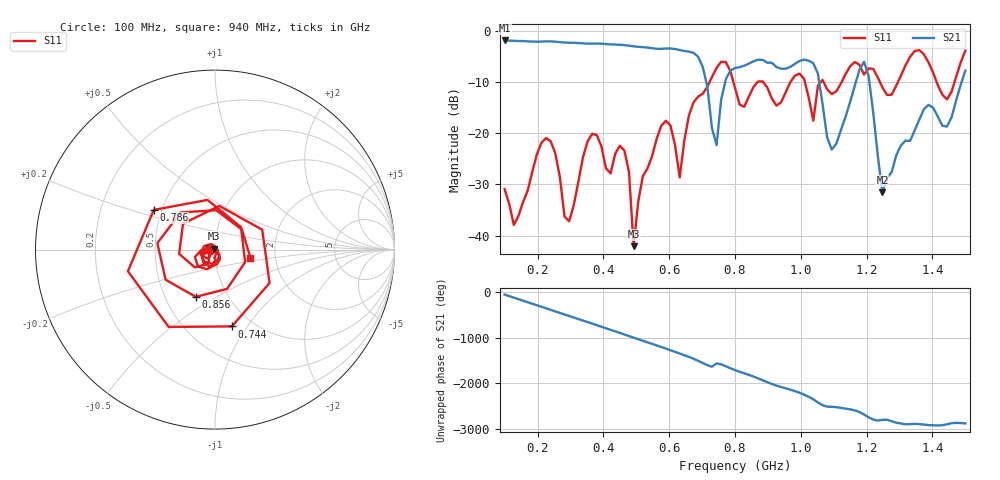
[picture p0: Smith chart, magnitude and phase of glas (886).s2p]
! NanoVNA-App
! Date: 2025-09-25 16:02:22
! Start: 100MHz Stop: 1,5GHz Points: 101
! S-Parameter data: F S11 S21 S12 S22
# Hz S RI R 50
!  Frequency  S11_Real  S11_Imag  S21_Real  S21_Imag  S12_Real  S12_Imag  S22_Real  S22_Imag
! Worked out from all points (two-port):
!   101 points, 100 MHz to 1.5 GHz, reference 50 ohm
!   highest |S21| = -1.80 dB at 100 MHz (marker M1); lowest = -31.5 dB at 1.248 GHz (marker M2)
!   |S21| within 3 dB of the highest: start of sweep to 684.5 MHz
!   lowest |S11| = -42.1 dB at 492 MHz (marker M3), VSWR 1.02, Z = 49.5 + j0.6 ohm
!   |S11| at or under -10 dB: start of sweep to 722.4 MHz; 795.4 MHz to 867.9 MHz (72.44 MHz wide, 8.71 % of centre); 886.2 MHz to 968 MHz (81.72 MHz wide, 8.81 % of centre)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
!   S12 and S22 are empty: the file has one direction only
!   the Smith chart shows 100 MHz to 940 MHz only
!   S11 on the Smith chart (normalised r, x): 100 MHz: 0.94, -0.01; 744 MHz: 0.80, -0.85; 786 MHz: 0.45, +0.24; 856 MHz: 0.71, -0.41; 940 MHz: 1.48, -0.14
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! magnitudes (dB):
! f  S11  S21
! 100 MHz  -30.9  -1.8
! 128 MHz  -37.9  -1.9
! 226 MHz  -20.9  -2.0
! 296 MHz  -37.2  -2.2
! 338 MHz  -24.7  -2.4
! 464 MHz  -23.4  -2.7
! 492 MHz  -42.1  -3.0
! 576 MHz  -18.5  -3.5
! 632 MHz  -28.6  -3.7
! 702 MHz  -12.2  -7.0
! 744 MHz  -7.2  -22.3
! 786 MHz  -7.8  -7.7
! 800 MHz  -11.1  -7.2
! 856 MHz  -10.9  -5.9
! 940 MHz  -13.9  -7.3
! 996 MHz  -8.3  -5.8
! 1.038 GHz  -17.5  -6.3
! 1.094 GHz  -12.3  -23.2
! 1.192 GHz  -8.5  -6.0
! 1.248 GHz  -11.0  -31.5
! 1.276 GHz  -12.4  -27.6
! 1.5 GHz  -3.8  -7.7
